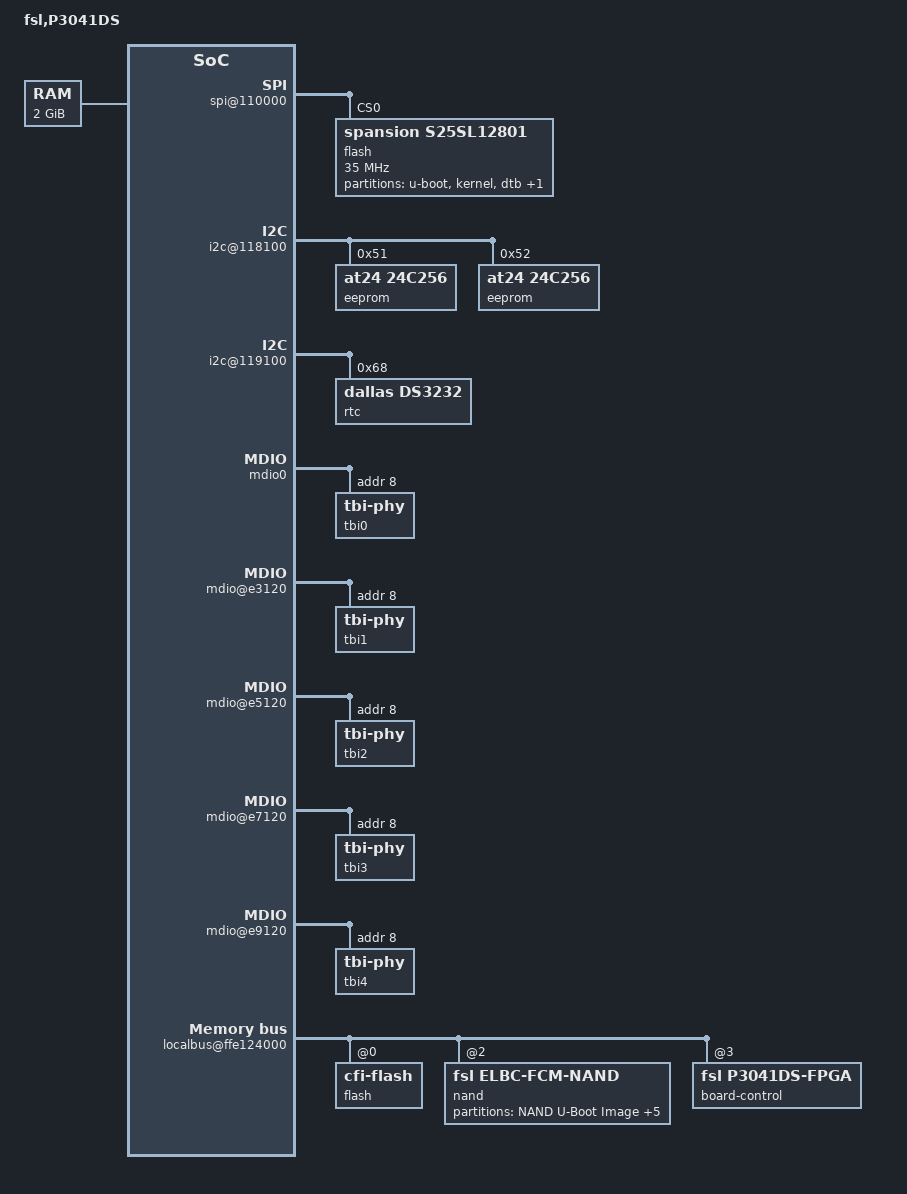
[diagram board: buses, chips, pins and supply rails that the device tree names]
/*
 * P3041DS Device Tree Source
 *
 * Copyright 2010-2011 Freescale Semiconductor Inc.
 *
 * Redistribution and use in source and binary forms, with or without
 * modification, are permitted provided that the following conditions are met:
 *     * Redistributions of source code must retain the above copyright
 *       notice, this list of conditions and the following disclaimer.
 *     * Redistributions in binary form must reproduce the above copyright
 *       notice, this list of conditions and the following disclaimer in the
 *       documentation and/or other materials provided with the distribution.
 *     * Neither the name of Freescale Semiconductor nor the
 *       names of its contributors may be used to endorse or promote products
 *       derived from this software without specific prior written permission.
 *
 *
 * ALTERNATIVELY, this software may be distributed under the terms of the
 * GNU General Public License ("GPL") as published by the Free Software
 * Foundation, either version 2 of that License or (at your option) any
 * later version.
 *
 * THIS SOFTWARE IS PROVIDED BY Freescale Semiconductor ``AS IS'' AND ANY
 * EXPRESS OR IMPLIED WARRANTIES, INCLUDING, BUT NOT LIMITED TO, THE IMPLIED
 * WARRANTIES OF MERCHANTABILITY AND FITNESS FOR A PARTICULAR PURPOSE ARE
 * DISCLAIMED. IN NO EVENT SHALL Freescale Semiconductor BE LIABLE FOR ANY
 * DIRECT, INDIRECT, INCIDENTAL, SPECIAL, EXEMPLARY, OR CONSEQUENTIAL DAMAGES
 * (INCLUDING, BUT NOT LIMITED TO, PROCUREMENT OF SUBSTITUTE GOODS OR SERVICES;
 * LOSS OF USE, DATA, OR PROFITS; OR BUSINESS INTERRUPTION) HOWEVER CAUSED AND
 * ON ANY THEORY OF LIABILITY, WHETHER IN CONTRACT, STRICT LIABILITY, OR TORT
 * (INCLUDING NEGLIGENCE OR OTHERWISE) ARISING IN ANY WAY OUT OF THE USE OF THIS
 * SOFTWARE, EVEN IF ADVISED OF THE POSSIBILITY OF SUCH DAMAGE.
 */
/* $FreeBSD$ */

/include/ "p3041si.dtsi"

/ {
	model = "fsl,P3041DS";
	compatible = "fsl,P3041DS";
	#address-cells = <2>;
	#size-cells = <2>;
	interrupt-parent = <&mpic>;

	aliases {
		phy_rgmii_0 = &phy_rgmii_0;
		phy_rgmii_1 = &phy_rgmii_1;
		phy_sgmii_1c = &phy_sgmii_1c;
		phy_sgmii_1d = &phy_sgmii_1d;
		phy_sgmii_1e = &phy_sgmii_1e;
		phy_sgmii_1f = &phy_sgmii_1f;
		phy_xgmii_1 = &phy_xgmii_1;
		phy_xgmii_2 = &phy_xgmii_2;
		emi1_rgmii = &hydra_mdio_rgmii;
		emi1_sgmii = &hydra_mdio_sgmii;
		emi2_xgmii = &hydra_mdio_xgmii;
	};

	memory {
		device_type = "memory";
		reg = <0x00000000 0x00000000 0x00000000 0x80000000>;
	};

	dcsr: dcsr@f00000000 {
		ranges = <0x00000000 0xf 0x00000000 0x01008000>;
	};

	bman-portals@ff4000000 {
		bman-portal@0 {
			cpu-handle = <&cpu0>;
		};
		bman-portal@4000 {
			cpu-handle = <&cpu1>;
		};
		bman-portal@8000 {
			cpu-handle = <&cpu2>;
		};
		bman-portal@c000 {
			cpu-handle = <&cpu3>;
		};
		bman-portal@10000 {
		};
		bman-portal@14000 {
		};
		bman-portal@18000 {
		};
		bman-portal@1c000 {
		};
		bman-portal@20000 {
		};
		bman-portal@24000 {
		};

		buffer-pool@0 {
			compatible = "fsl,p3041-bpool", "fsl,bpool";
			fsl,bpid = <0>;
			fsl,bpool-cfg = <0 0x100 0 1 0 0x100>;
		};
	};

	qman-portals@ff4200000 {
		qportal0: qman-portal@0 {
			cpu-handle = <&cpu0>;
			fsl,qman-pool-channels = <&qpool1 &qpool2 &qpool3
						  &qpool4 &qpool5 &qpool6
						  &qpool7 &qpool8 &qpool9
						  &qpool10 &qpool11 &qpool12
						  &qpool13 &qpool14 &qpool15>;
		};

		qportal1: qman-portal@4000 {
			cpu-handle = <&cpu1>;
			fsl,qman-pool-channels = <&qpool1 &qpool2 &qpool3
						  &qpool4 &qpool5 &qpool6
						  &qpool7 &qpool8 &qpool9
						  &qpool10 &qpool11 &qpool12
						  &qpool13 &qpool14 &qpool15>;
		};

		qportal2: qman-portal@8000 {
			cpu-handle = <&cpu2>;
			fsl,qman-pool-channels = <&qpool1 &qpool2 &qpool3
						  &qpool4 &qpool5 &qpool6
						  &qpool7 &qpool8 &qpool9
						  &qpool10 &qpool11 &qpool12
						  &qpool13 &qpool14 &qpool15>;
		};

		qportal3: qman-portal@c000 {
			cpu-handle = <&cpu3>;
			fsl,qman-pool-channels = <&qpool1 &qpool2 &qpool3
						  &qpool4 &qpool5 &qpool6
						  &qpool7 &qpool8 &qpool9
						  &qpool10 &qpool11 &qpool12
						  &qpool13 &qpool14 &qpool15>;
		};

		qportal4: qman-portal@10000 {
			fsl,qman-pool-channels = <&qpool1 &qpool2 &qpool3
						  &qpool4 &qpool5 &qpool6
						  &qpool7 &qpool8 &qpool9
						  &qpool10 &qpool11 &qpool12
						  &qpool13 &qpool14 &qpool15>;
		};

		qportal5: qman-portal@14000 {
			fsl,qman-pool-channels = <&qpool1 &qpool2 &qpool3
						  &qpool4 &qpool5 &qpool6
						  &qpool7 &qpool8 &qpool9
						  &qpool10 &qpool11 &qpool12
						  &qpool13 &qpool14 &qpool15>;
		};

		qportal6: qman-portal@18000 {
			fsl,qman-pool-channels = <&qpool1 &qpool2 &qpool3
						  &qpool4 &qpool5 &qpool6
						  &qpool7 &qpool8 &qpool9
						  &qpool10 &qpool11 &qpool12
						  &qpool13 &qpool14 &qpool15>;
		};

		qportal7: qman-portal@1c000 {
			fsl,qman-pool-channels = <&qpool1 &qpool2 &qpool3
						  &qpool4 &qpool5 &qpool6
						  &qpool7 &qpool8 &qpool9
						  &qpool10 &qpool11 &qpool12
						  &qpool13 &qpool14 &qpool15>;
		};

		qportal8: qman-portal@20000 {
			fsl,qman-pool-channels = <&qpool1 &qpool2 &qpool3
						  &qpool4 &qpool5 &qpool6
						  &qpool7 &qpool8 &qpool9
						  &qpool10 &qpool11 &qpool12
						  &qpool13 &qpool14 &qpool15>;
		};

		qportal9: qman-portal@24000 {
			fsl,qman-pool-channels = <&qpool1 &qpool2 &qpool3
						  &qpool4 &qpool5 &qpool6
						  &qpool7 &qpool8 &qpool9
						  &qpool10 &qpool11 &qpool12
						  &qpool13 &qpool14 &qpool15>;
		};
	};

	soc: soc@ffe000000 {
		spi@110000 {
			flash@0 {
				#address-cells = <1>;
				#size-cells = <1>;
				compatible = "spansion,s25sl12801";
				reg = <0>;
				spi-max-frequency = <35000000>; /* input clock */
				partition@u-boot {
					label = "u-boot";
					reg = <0x00000000 0x00100000>;
					read-only;
				};
				partition@kernel {
					label = "kernel";
					reg = <0x00100000 0x00500000>;
					read-only;
				};
				partition@dtb {
					label = "dtb";
					reg = <0x00600000 0x00100000>;
					read-only;
				};
				partition@fs {
					label = "file system";
					reg = <0x00700000 0x00900000>;
				};
			};
		};

		i2c@118100 {
			eeprom@51 {
				compatible = "at24,24c256";
				reg = <0x51>;
			};
			eeprom@52 {
				compatible = "at24,24c256";
				reg = <0x52>;
			};
		};

		i2c@119100 {
			rtc@68 {
				compatible = "dallas,ds3232";
				reg = <0x68>;
				interrupts = <0x1 0x1 0 0>;
			};
		};

		pme: pme@316000 {
			/* Commented out, use default allocation */
			/* fsl,pme-pdsr = <0x0 0x23000000 0x0 0x01000000>; */
			/* fsl,pme-sre = <0x0 0x24000000 0x0 0x00a00000>; */
		};

		qman: qman@318000 {
			/* Commented out, use default allocation */
			/* fsl,qman-fqd = <0x0 0x20000000 0x0 0x01000000>; */
			/* fsl,qman-pfdr = <0x0 0x21000000 0x0 0x01000000>; */
		};

		bman: bman@31a000 {
			/* Same as fsl,qman-*, use default allocation */
			/* fsl,bman-fbpr = <0x0 0x22000000 0x0 0x01000000>; */
		};

		fman0: fman@400000 {
			enet0: ethernet@e0000 {
				tbi-handle = <&tbi0>;
				phy-handle = <&phy_rgmii_0>;
				phy-connection-type = "rgmii";
			};

			mdio0: mdio@e1120 {
				tbi0: tbi-phy@8 {
					reg = <0x8>;
					device_type = "tbi-phy";
				};

				/*
				 * Virtual MDIO for the two on-board RGMII
				 * ports.  The fsl,hydra-mdio-muxval property
				 * is already correct.
				 */
				hydra_mdio_rgmii: hydra-mdio-rgmii {
					#address-cells = <1>;
					#size-cells = <0>;
					compatible = "fsl,hydra-mdio";
					fsl,mdio-handle = <&mdio0>;
					fsl,hydra-mdio-muxval = <0x00>;
					status = "disabled";

					phy_rgmii_0: ethernet-phy@0 {
						reg = <0x0>;
					};
					phy_rgmii_1: ethernet-phy@1 {
						reg = <0x1>;
					};
				};

				/*
				 * Virtual MDIO for the four-port SGMII card.
				 * The fsl,hydra-mdio-muxval property will be
				 * fixed-up by U-Boot based on the slot that
				 * the SGMII card is in.
				 *
				 * Note: we do not support DTSEC5 connected to
				 * SGMII, so this is the only SGMII node.
				 */
				hydra_mdio_sgmii: hydra-mdio-sgmii {
					#address-cells = <1>;
					#size-cells = <0>;
					compatible = "fsl,hydra-mdio";
					fsl,mdio-handle = <&mdio0>;
					fsl,hydra-mdio-muxval = <0x00>;
					status = "disabled";

					phy_sgmii_1c: ethernet-phy@1c {
						reg = <0x1c>;
					};
					phy_sgmii_1d: ethernet-phy@1d {
						reg = <0x1d>;
					};
					phy_sgmii_1e: ethernet-phy@1e {
						reg = <0x1e>;
					};
					phy_sgmii_1f: ethernet-phy@1f {
						reg = <0x1f>;
					};
				};
			};

			enet1: ethernet@e2000 {
				tbi-handle = <&tbi1>;
				phy-handle = <&phy_sgmii_1d>;
				phy-connection-type = "sgmii";
			};

			mdio@e3120 {
				tbi1: tbi-phy@8 {
					reg = <8>;
					device_type = "tbi-phy";
				};
			};

			enet2: ethernet@e4000 {
				tbi-handle = <&tbi2>;
				phy-handle = <&phy_sgmii_1e>;
				phy-connection-type = "sgmii";
			};

			mdio@e5120 {
				tbi2: tbi-phy@8 {
					reg = <8>;
					device_type = "tbi-phy";
				};
			};

			enet3: ethernet@e6000 {
				tbi-handle = <&tbi3>;
				phy-handle = <&phy_sgmii_1f>;
				phy-connection-type = "sgmii";
			};

			mdio@e7120 {
				#address-cells = <1>;
				#size-cells = <0>;
				compatible = "fsl,fman-tbi";
				reg = <0xe7120 0xee0>;
				interrupts = <100 1 0 0>;

				tbi3: tbi-phy@8 {
					reg = <8>;
					device_type = "tbi-phy";
				};
			};

			enet4: ethernet@e8000 {
				tbi-handle = <&tbi4>;
				phy-handle = <&phy_rgmii_1>;
				phy-connection-type = "rgmii";
			};

			mdio@e9120 {
				tbi4: tbi-phy@8 {
					reg = <8>;
					device_type = "tbi-phy";
				};
			};

			enet5: ethernet@f0000 {
				/*
				 * phy-handle will be updated by U-Boot to
				 * reflect the actual slot the XAUI card is in.
				 */
				phy-handle = <&phy_xgmii_1>;
				phy-connection-type = "xgmii";
			};

			/*
			 * We only support one XAUI card, so the MDIO muxing
			 * is set by U-Boot, and Linux never touches it.
			 * Therefore, we don't need a virtual MDIO node.
			 * However, the phy address depends on the slot, so
			 * only one of the ethernet-phy nodes below will be
			 * used.
			 */
			hydra_mdio_xgmii: mdio@f1000 {
				status = "disabled";

				/* XAUI card in slot 1 */
				phy_xgmii_1: ethernet-phy@4 {
					reg = <0x4>;
				};

				/* XAUI card in slot 2 */
				phy_xgmii_2: ethernet-phy@0 {
					reg = <0x0>;
				};
			};
		};
	};

	rapidio@ffe0c0000 {
		reg = <0xf 0xfe0c0000 0 0x11000>;

		port1 {
			ranges = <0 0 0xc 0x20000000 0 0x10000000>;
		};
		port2 {
			ranges = <0 0 0xc 0x30000000 0 0x10000000>;
		};
	};

	localbus@ffe124000 {
		reg = <0xf 0xfe124000 0 0x1000>;
		ranges = <0 0 0xf 0xb8000000 0x04000000>;

		flash@0,0 {
			compatible = "cfi-flash";
			/*
                         * Map 64Mb of 128MB NOR flash memory. Since highest
                         * line of address of NOR flash memory are set by
                         * FPGA, memory are divided into two pages equal to
                         * 64MB. One of the pages can be accessed at once.
                         */
			reg = <0 0 0x04000000>;
			bank-width = <2>;
			device-width = <2>;
		};

		nand@2,0 {
			#address-cells = <1>;
			#size-cells = <1>;
			compatible = "fsl,elbc-fcm-nand";
			reg = <0x2 0x0 0x40000>;

			partition@0 {
				label = "NAND U-Boot Image";
				reg = <0x0 0x02000000>;
				read-only;
			};

			partition@2000000 {
				label = "NAND Root File System";
				reg = <0x02000000 0x10000000>;
			};

			partition@12000000 {
				label = "NAND Compressed RFS Image";
				reg = <0x12000000 0x08000000>;
			};

			partition@1a000000 {
				label = "NAND Linux Kernel Image";
				reg = <0x1a000000 0x04000000>;
			};

			partition@1e000000 {
				label = "NAND DTB Image";
				reg = <0x1e000000 0x01000000>;
			};

			partition@1f000000 {
				label = "NAND Writable User area";
				reg = <0x1f000000 0x21000000>;
			};
		};

		board-control@3,0 {
			compatible = "fsl,p3041ds-fpga", "fsl,fpga-ngpixis";
			reg = <3 0 0x30>;
		};
	};

	pci0: pcie@ffe200000 {
		reg = <0xf 0xfe200000 0 0x1000>;
		ranges = <0x02000000 0 0x80000000 0x0 0x80000000 0x0 0x10000000
			  0x01000000 0 0x00000000 0x0 0xff000000 0x0 0x00010000>;
		pcie@0 {
			ranges = <0x02000000 0 0x80000000
				  0x02000000 0 0x80000000
				  0 0x10000000

				  0x01000000 0 0x00000000
				  0x01000000 0 0xff000000
				  0 0x00010000>;
		};
	};

	pci1: pcie@ffe201000 {
		reg = <0xf 0xfe201000 0 0x1000>;
		ranges = <0x02000000 0x0 0x90000000 0x0 0x90000000 0x0 0x10000000
			  0x01000000 0x0 0x00000000 0x0 0xff010000 0x0 0x00010000>;
		pcie@0 {
			ranges = <0x02000000 0 0x90000000
				  0x02000000 0 0x90000000
				  0 0x10000000

				  0x01000000 0 0x00000000
				  0x01000000 0 0xff010000
				  0 0x00010000>;
		};
	};

	pci2: pcie@ffe202000 {
		reg = <0xf 0xfe202000 0 0x1000>;
		ranges = <0x02000000 0 0xa0000000 0x0 0xa0000000 0 0x10000000
			  0x01000000 0 0x00000000 0x0 0xff020000 0 0x00010000>;
		pcie@0 {
			ranges = <0x02000000 0 0xa0000000
				  0x02000000 0 0xa0000000
				  0 0x10000000

				  0x01000000 0 0x00000000
				  0x01000000 0 0xff020000
				  0 0x00010000>;
		};
	};

	pci3: pcie@ffe203000 {
		reg = <0xf 0xfe203000 0 0x1000>;
		ranges = <0x02000000 0 0xb0000000 0x0 0xb0000000 0 0x08000000
			  0x01000000 0 0x00000000 0x0 0xff030000 0 0x00010000>;
		pcie@0 {
			ranges = <0x02000000 0 0xb0000000
				  0x02000000 0 0xb0000000
				  0 0x08000000

				  0x01000000 0 0x00000000
				  0x01000000 0 0xff030000
				  0 0x00010000>;
		};
	};

	chosen {
		stdin = "serial0";
		stdout = "serial0";
	};
};
